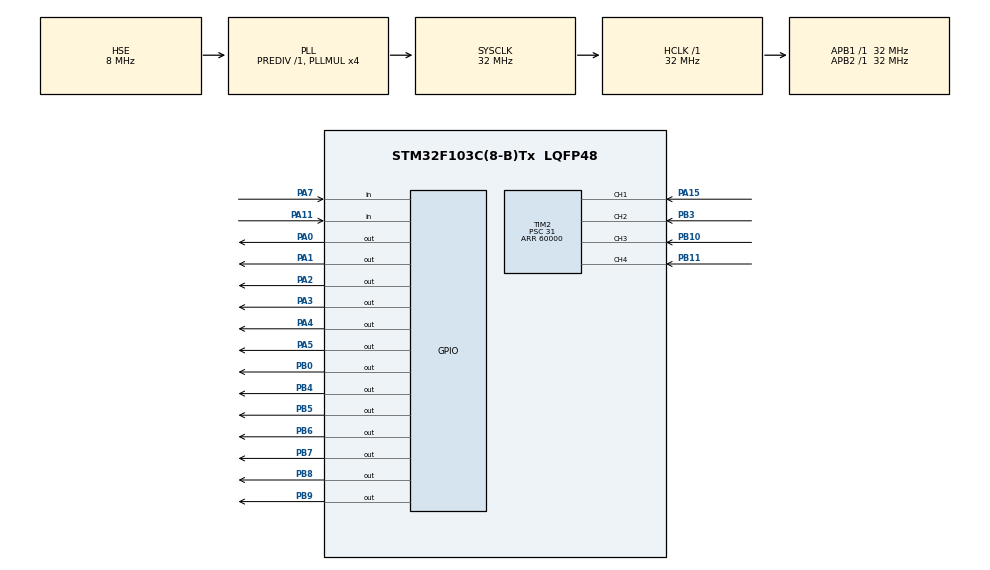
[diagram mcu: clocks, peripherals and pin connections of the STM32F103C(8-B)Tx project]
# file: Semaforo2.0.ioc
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Mcu.Family=STM32F1
Mcu.Name=STM32F103C(8-B)Tx
Mcu.Package=LQFP48
NVIC.PriorityGroup=NVIC_PRIORITYGROUP_4
NVIC.TIM2_IRQn=true\:0\:0\:false\:false\:true
NVIC.TIM3_IRQn=true\:0\:0\:false\:false\:true
PA0-WKUP.Signal=GPIO_Output
PA1.GPIO_Speed=GPIO_SPEED_FREQ_LOW
PA1.PinState=GPIO_PIN_RESET
PA1.Signal=GPIO_Output
PA11.GPIO_PuPd=GPIO_PULLDOWN
PA11.Signal=GPIO_Input
PA13.Mode=Serial_Wire
PA13.Signal=SYS_JTMS-SWDIO
PA14.Mode=Serial_Wire
PA14.Signal=SYS_JTCK-SWCLK
PA15.GPIO_PuPd=GPIO_PULLDOWN
PA15.Signal=S_TIM2_CH1_ETR
PA2.Signal=GPIO_Output
PA3.Signal=GPIO_Output
PA4.Signal=GPIO_Output
PA5.Signal=GPIO_Output
PA7.GPIO_PuPd=GPIO_PULLDOWN
PA7.Signal=GPIO_Input
PB0.Signal=GPIO_Output
PB10.GPIO_PuPd=GPIO_PULLUP
PB10.Signal=S_TIM2_CH3
PB11.GPIO_PuPd=GPIO_PULLDOWN
PB11.Signal=S_TIM2_CH4
PB3.GPIO_PuPd=GPIO_PULLUP
PB3.Signal=S_TIM2_CH2
PB4.Signal=GPIO_Output
PB5.Signal=GPIO_Output
PB6.Signal=GPIO_Output
PB7.Signal=GPIO_Output
PB8.Signal=GPIO_Output
PB9.Signal=GPIO_Output
PD0-OSC_IN.Mode=HSE-External-Oscillator
PD0-OSC_IN.Signal=RCC_OSC_IN
PD1-OSC_OUT.Mode=HSE-External-Oscillator
PD1-OSC_OUT.Signal=RCC_OSC_OUT
ProjectManager.HeapSize=0x200
ProjectManager.StackSize=0x400
ProjectManager.TargetToolchain=TrueSTUDIO
RCC.AHBFreq_Value=32000000
RCC.APB1Freq_Value=32000000
RCC.APB1TimFreq_Value=32000000
RCC.APB2Freq_Value=32000000
RCC.APB2TimFreq_Value=32000000
RCC.HCLKFreq_Value=32000000
RCC.PLLMUL=RCC_PLL_MUL4
RCC.PLLSourceVirtual=RCC_PLLSOURCE_HSE
RCC.SYSCLKFreq_VALUE=32000000
RCC.SYSCLKSource=RCC_SYSCLKSOURCE_PLLCLK
RCC.USBFreq_Value=32000000
SH.S_TIM2_CH1_ETR.0=TIM2_CH1,Input_Capture1_from_TI1
SH.S_TIM2_CH2.0=TIM2_CH2,Input_Capture2_from_TI2
SH.S_TIM2_CH3.0=TIM2_CH3,Input_Capture3_from_TI3
SH.S_TIM2_CH4.0=TIM2_CH4,Input_Capture4_from_TI4
TIM2.Channel-Input_Capture1_from_TI1=TIM_CHANNEL_1
TIM2.Channel-Input_Capture2_from_TI2=TIM_CHANNEL_2
TIM2.Channel-Input_Capture3_from_TI3=TIM_CHANNEL_3
TIM2.Channel-Input_Capture4_from_TI4=TIM_CHANNEL_4
TIM2.ICFilter_CH1=15
TIM2.ICFilter_CH2=15
TIM2.ICFilter_CH3=15
TIM2.ICFilter_CH4=15
TIM2.ICPolarity_CH1=TIM_INPUTCHANNELPOLARITY_FALLING
TIM2.ICPolarity_CH4=TIM_INPUTCHANNELPOLARITY_FALLING
TIM2.Period=60000
TIM2.Prescaler=31
TIM3.Period=99
TIM3.Prescaler=31999
VP_TIM2_VS_ClockSourceINT.Mode=Internal
VP_TIM3_VS_ClockSourceINT.Mode=Internal
board=Semaforo2.0

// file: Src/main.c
/**
  ******************************************************************************
  * File Name          : main.c
  * Description        : Main program body
  ******************************************************************************
  ** This notice applies to any and all portions of this file
  * that are not between comment pairs USER CODE BEGIN and
  * USER CODE END. Other portions of this file, whether
  * inserted by the user or by software development tools
  * are owned by their respective copyright owners.
  *
  * COPYRIGHT(c) 2017 STMicroelectronics
  *
  * Redistribution and use in source and binary forms, with or without modification,
  * are permitted provided that the following conditions are met:
  *   1. Redistributions of source code must retain the above copyright notice,
  *      this list of conditions and the following disclaimer.
  *   2. Redistributions in binary form must reproduce the above copyright notice,
  *      this list of conditions and the following disclaimer in the documentation
  *      and/or other materials provided with the distribution.
  *   3. Neither the name of STMicroelectronics nor the names of its contributors
  *      may be used to endorse or promote products derived from this software
  *      without specific prior written permission.
  *
  * THIS SOFTWARE IS PROVIDED BY THE COPYRIGHT HOLDERS AND CONTRIBUTORS "AS IS"
  * AND ANY EXPRESS OR IMPLIED WARRANTIES, INCLUDING, BUT NOT LIMITED TO, THE
  * IMPLIED WARRANTIES OF MERCHANTABILITY AND FITNESS FOR A PARTICULAR PURPOSE ARE
  * DISCLAIMED. IN NO EVENT SHALL THE COPYRIGHT HOLDER OR CONTRIBUTORS BE LIABLE
  * FOR ANY DIRECT, INDIRECT, INCIDENTAL, SPECIAL, EXEMPLARY, OR CONSEQUENTIAL
  * DAMAGES (INCLUDING, BUT NOT LIMITED TO, PROCUREMENT OF SUBSTITUTE GOODS OR
  * SERVICES; LOSS OF USE, DATA, OR PROFITS; OR BUSINESS INTERRUPTION) HOWEVER
  * CAUSED AND ON ANY THEORY OF LIABILITY, WHETHER IN CONTRACT, STRICT LIABILITY,
  * OR TORT (INCLUDING NEGLIGENCE OR OTHERWISE) ARISING IN ANY WAY OUT OF THE USE
  * OF THIS SOFTWARE, EVEN IF ADVISED OF THE POSSIBILITY OF SUCH DAMAGE.
  *
  ******************************************************************************
  */
#include "main.h"
#include "stm32f1xx_hal.h"
#include "tim.h"
#include "gpio.h"

/* USER CODE BEGIN PV */
/* Private variables ---------------------------------------------------------*/
long uss1_delay = 0;
long uss2_delay = 0;
//Fluxo nas vias
long uss1_fluxo = 0; //semaforo 1
long uss2_fluxo = 0; // semafor 2
//distancia padrao sem carro
int uss1_calibragem = 1000;
int uss2_calibragem = 700;
//informa se carro ja passou pelo sensor
int uss1_resetado = 1;
int uss2_resetado = 1;
//contador do botao de pedestre
int btn_s1 = 0;
int btn_s2 = 0;
//contador de ciclos inativo
long uss1_ciclos_inativo = 0;
long uss2_ciclos_inativo = 0;
int uss1_seg_inativo = 0;
int uss2_seg_inativo = 0;
//amostragem por segundo
int tm_frequencia = 10;
//contagem de tempo
int count_time = 0;
int count_time_seg = 0;
//semaforo fechado 1 = s1 e 2 = s2
int sem_fechado = 1;
/* USER CODE END PV */
//semaforo que deve ser fechado
int fecha_sem = 1;

void SystemClock_Config(void);

/* USER CODE BEGIN PFP */
/* Private function prototypes -----------------------------------------------*/

/* USER CODE END PFP */

int main(void)
{

  /* MCU Configuration----------------------------------------------------------*/

  /* Reset of all peripherals, Initializes the Flash interface and the Systick. */
  HAL_Init();

  /* Configure the system clock */
  SystemClock_Config();

  /* Initialize all configured peripherals */
  MX_GPIO_Init();
  MX_TIM3_Init();
  MX_TIM2_Init();

  /* USER CODE BEGIN 2 */
  //timer com interrupção externa para medir largura do echo dos sensores com resolução de 1us
  HAL_TIM_IC_Start_IT(&htim2, TIM_CHANNEL_1); //uss2 descida do sinal de echo
  HAL_TIM_IC_Start_IT(&htim2, TIM_CHANNEL_2); //uss2 subida do sinal de echo
  HAL_TIM_IC_Start_IT(&htim2, TIM_CHANNEL_3); //uss1 subida do sinal de echo
  HAL_TIM_IC_Start_IT(&htim2, TIM_CHANNEL_4); //uss1 descida do sinal de echo
  //timer com interrupação por tempo de ativação dos sensores (trigger). Resolução 100ms
  HAL_TIM_Base_Start_IT(&htim3);
  /* USER CODE END 2 */

  /* Infinite loop */
  /* USER CODE BEGIN WHILE */
  	//semaforo 1 fechado
	HAL_GPIO_WritePin(GPIOA,GPIO_PIN_0,GPIO_PIN_SET); //S1R
	HAL_GPIO_WritePin(GPIOA,GPIO_PIN_1,GPIO_PIN_RESET); //S1Y
	HAL_GPIO_WritePin(GPIOA,GPIO_PIN_2,GPIO_PIN_RESET); //S1G
	HAL_GPIO_WritePin(GPIOA,GPIO_PIN_3,GPIO_PIN_RESET); //P1R
	HAL_GPIO_WritePin(GPIOA,GPIO_PIN_4,GPIO_PIN_SET); //P1G
	//semaforo 1 fechado
	HAL_GPIO_WritePin(GPIOB,GPIO_PIN_9,GPIO_PIN_RESET); //S2R
	HAL_GPIO_WritePin(GPIOB,GPIO_PIN_8,GPIO_PIN_RESET); //S2Y
	HAL_GPIO_WritePin(GPIOB,GPIO_PIN_7,GPIO_PIN_SET); //S2G
	HAL_GPIO_WritePin(GPIOB,GPIO_PIN_6,GPIO_PIN_SET); //P2R
	HAL_GPIO_WritePin(GPIOB,GPIO_PIN_5,GPIO_PIN_RESET); //P2G
  while (1)
  {
	  //faz a troca dos semaforos
	  if(sem_fechado != fecha_sem){
		  fecha_semaforo(fecha_sem);
		  count_time = 0;
	  }
	  //Breakpoint "%d - USS1 d-%d f-%d b-%d - USS2 d-%d f-%d b-%d \n",count_time,uss1_delay,uss1_fluxo,btn_s1,uss2_delay,uss2_fluxo,btn_s2
	  //"%d USS1 I-%d b-%d USS2 I-%d b-%d - fechado %d - deve_fechar %d \n",count_time,uss1_ciclos_inativo,btn_s1,uss2_ciclos_inativo,btn_s2,sem_fechado,fecha_sem
	  HAL_Delay(500);
  /* USER CODE END WHILE */

  }

}

/** System Clock Configuration
*/
void SystemClock_Config(void)
{

  RCC_OscInitTypeDef RCC_OscInitStruct;
  RCC_ClkInitTypeDef RCC_ClkInitStruct;

    /**Initializes the CPU, AHB and APB busses clocks
    */
  RCC_OscInitStruct.OscillatorType = RCC_OSCILLATORTYPE_HSE;
  RCC_OscInitStruct.HSEState = RCC_HSE_ON;
  RCC_OscInitStruct.HSEPredivValue = RCC_HSE_PREDIV_DIV1;
  RCC_OscInitStruct.HSIState = RCC_HSI_ON;
  RCC_OscInitStruct.PLL.PLLState = RCC_PLL_ON;
  RCC_OscInitStruct.PLL.PLLSource = RCC_PLLSOURCE_HSE;
  RCC_OscInitStruct.PLL.PLLMUL = RCC_PLL_MUL4;
  if (HAL_RCC_OscConfig(&RCC_OscInitStruct) != HAL_OK)
  {
    _Error_Handler(__FILE__, __LINE__);
  }

    /**Initializes the CPU, AHB and APB busses clocks
    */
  RCC_ClkInitStruct.ClockType = RCC_CLOCKTYPE_HCLK|RCC_CLOCKTYPE_SYSCLK
                              |RCC_CLOCKTYPE_PCLK1|RCC_CLOCKTYPE_PCLK2;
  RCC_ClkInitStruct.SYSCLKSource = RCC_SYSCLKSOURCE_PLLCLK;
  RCC_ClkInitStruct.AHBCLKDivider = RCC_SYSCLK_DIV1;
  RCC_ClkInitStruct.APB1CLKDivider = RCC_HCLK_DIV1;
  RCC_ClkInitStruct.APB2CLKDivider = RCC_HCLK_DIV1;

  if (HAL_RCC_ClockConfig(&RCC_ClkInitStruct, FLASH_LATENCY_1) != HAL_OK)
  {
    _Error_Handler(__FILE__, __LINE__);
  }

    /**Configure the Systick interrupt time
    */
  HAL_SYSTICK_Config(HAL_RCC_GetHCLKFreq()/1000);

    /**Configure the Systick
    */
  HAL_SYSTICK_CLKSourceConfig(SYSTICK_CLKSOURCE_HCLK);

  /* SysTick_IRQn interrupt configuration */
  HAL_NVIC_SetPriority(SysTick_IRQn, 0, 0);
}

/* USER CODE BEGIN 4 */
void HAL_TIM_IC_CaptureCallback(TIM_HandleTypeDef *htim)
{
	if (htim->Instance==TIM2){
		//subida echo uss1
		if(htim->Channel==TIM_CHANNEL_3){

		}
		//descida echo uss1
		if(htim->Channel==TIM_CHANNEL_4){

		}
		//subida echo uss2
		if(htim->Channel==TIM_CHANNEL_2){

		}
		//descida echo uss2
		if(htim->Channel==TIM_CHANNEL_1){

		}
	}
}
void HAL_TIM_PeriodElapsedCallback(TIM_HandleTypeDef *htim)
{
    if (htim->Instance==TIM3) //Interrupção por tempo, 100ms
    {
    	count_time_seg = count_time/tm_frequencia;
    	//Calcula a largura do pulso de echo do sensor 1
    	uss1_delay=HAL_TIM_ReadCapturedValue(&htim2, TIM_CHANNEL_4) - HAL_TIM_ReadCapturedValue(&htim2, TIM_CHANNEL_3);
    	//regulagem contra ruido
    	if(uss1_delay > 0 && uss1_delay < 1400){
    		//verifica se tem carro atravez da calibragem(delay normal sem carro)
			if(uss1_delay < uss1_calibragem){
				if(uss1_resetado == 1){
					uss1_fluxo++;
				}
				//informa que o sensor ainda nao voltou para distancia padrão
				uss1_resetado = 0;
				uss1_ciclos_inativo = 0;
			}
			else{
				//informa que o sensor voltou para distancia padrão
				uss1_resetado = 1;
				//contador de ciclos inativos incrementado
				uss1_ciclos_inativo++;
			}
    	}
    	//Calcula a largura do pulso de echo do sensor 2
    	uss2_delay=HAL_TIM_ReadCapturedValue(&htim2, TIM_CHANNEL_1) - HAL_TIM_ReadCapturedValue(&htim2, TIM_CHANNEL_2);
    	//regulagem contra ruido
    	if(uss2_delay > 0 && uss2_delay < 900){
    		//verifica se tem carro atravez da calibragem(delay normal sem carro)
			if(uss2_delay < uss2_calibragem){
				if(uss2_resetado == 1){
					uss2_fluxo++;
				}
				//informa que o sensor ainda nao voltou para distancia padrão
				uss2_resetado = 0;
				uss2_ciclos_inativo = 0;
			}
			else{
				//informa que o sensor voltou para distancia padrão
				uss2_resetado = 1;
				//contador de ciclos inativos incrementado
				uss2_ciclos_inativo++;
			}
    	}
    	//Tempo de inatividade do sensor 1 em segundos
    	uss1_seg_inativo = uss1_ciclos_inativo/tm_frequencia;
    	//Tempo de inatividade do sensor 1 em segundos
    	uss2_seg_inativo = uss2_ciclos_inativo/tm_frequencia;

    	//Botao de pedestre do semaforo 1 foi pressionado
		if(btn_s1 > 0){
			//semaforo 1 esta fechado, ou seja, sinal de pedestre do semaforo 2
			//esta fechado.
			if(sem_fechado == 2){
				//Sensor do semaforo 1 nao detecta carro a mais de 5 segundos
				//entao fecha o semaforo 2 para travessia de pedestre.
				if(uss1_seg_inativo >= 5){
					//A condição btn_s2 == 0 faz com que haja tempo minimo para travessia
					//dos pedestres do semaforo 2.
					if(btn_s2 == 0){
						fecha_sem = 1;
					}
					//Tempo maximo de espera 15 segundos
					else if(count_time_seg >= 15){
						fecha_sem = 1;
					}
				}
			}
		}
		//Se botão de pedestre nao tiver sido pressionado, entao ler a entrada.
		else if(HAL_GPIO_ReadPin(GPIOA,GPIO_PIN_7)){
			btn_s1++;
		}

    	//Botao de pedestre do semaforo 2 foi pressionado
    	if(btn_s2 > 0){
    		//semaforo 1 esta fechado, ou seja, sinal de pedestre do semaforo 2
    		//esta fechado.
    		if(sem_fechado == 1){
    			//Sensor do semaforo 2 nao detecta carro a mais de 5 segundos
    			//entao fecha o semaforo 2 para travessia de pedestre.
				if(uss2_seg_inativo >= 5){
					//A condição btn_s1 == 0 faz com que haja tempo minimo para travessia
					//dos pedestres do semaforo 1.
					if(btn_s1 == 0){
						fecha_sem = 2;
					}
					//Tempo maximo de espera 15 segundos
					else if(count_time_seg >= 15){
						fecha_sem = 2;
					}
				}
			}
		}
    	//Se botão de pedestre nao tiver sido pressionado, entao ler a entrada.
    	else if(HAL_GPIO_ReadPin(GPIOA,GPIO_PIN_11)){
			btn_s2++;
		}
    	//Tempo máximo de um semaforo aberto 75seg(3 cliclos comuns de 25seg)
		if(count_time_seg >= 75){
			//Semaforo 1 fechado então fecha semaforo 2
			if(sem_fechado == 1){
				fecha_sem = 2;
			}
			//Semaforo 2 fechado então fecha semaforo 1
			else{
				fecha_sem = 1;
			}
		}
    	//tempo normal de semaforo atingido 25seg
		else if(count_time_seg >= 25){
    		//Semaforo 1 fechado e seu senssor detectou carros menos de 5 seg
    		//Ou botão do semaforo 2 foi pressionado.
    		if((sem_fechado == 1 && uss1_seg_inativo <= 5) || btn_s2 > 0){
				fecha_sem = 2;
			}
    		//Semaforo 2 fechado e seu senssor detectou carros menos de 5 seg
			//Ou botão do semaforo 1 foi pressionado.
    		else if((sem_fechado == 2 && uss2_seg_inativo <= 5) || btn_s1 > 0){
				fecha_sem = 1;
			}
    	}

    	//verifica inatividade no semaforo aberto
    	if(sem_fechado == 1 && uss1_seg_inativo <= 5 && uss2_seg_inativo > 5 && count_time_seg >5 && (btn_s1 == 0 || count_time_seg > 150)){
    		fecha_sem = 2;
    	}
    	else if(sem_fechado == 2 && uss2_seg_inativo <= 5 && uss1_seg_inativo > 5 && count_time_seg >5 && (btn_s2 == 0 || count_time_seg > 150)){
    		fecha_sem = 1;
    	}
    	//contador de ciclos
    	count_time++;

    	//Envia pulso de trigger para os sensores
    	HAL_GPIO_WritePin(GPIOA,GPIO_PIN_5,GPIO_PIN_SET); //USS1 trigger
		HAL_GPIO_WritePin(GPIOB,GPIO_PIN_4,GPIO_PIN_SET); //USS2 trigger
		//delay de ativação
		Delay_Us(10);
		//Interrompe o pulso de trigger para os sensores
		HAL_GPIO_WritePin(GPIOA,GPIO_PIN_5,GPIO_PIN_RESET);//USS1 trigger
		HAL_GPIO_WritePin(GPIOB,GPIO_PIN_4,GPIO_PIN_RESET);//USS2 trigger*/
		//Reinicia o contador interno do timer 2
		__HAL_TIM_SET_COUNTER(&htim2,0);
    }
}
uint32_t getUs(void) {
	uint32_t usTicks = HAL_RCC_GetSysClockFreq() / 1000000;
	register uint32_t ms, cycle_cnt;
	do {
		ms = HAL_GetTick();
		cycle_cnt = SysTick->VAL;
	} while (ms != HAL_GetTick());

	return (ms * 1000) + (usTicks * 1000 - cycle_cnt) / usTicks;
}

void Delay_Us(uint32_t micros) {
	uint32_t start = getUs();
	while (getUs()-start < (uint32_t) micros);
}
void fecha_semaforo(int semaforo){
	if(semaforo == 1){
		//5 segundos de transição do verde para vermelho
		HAL_GPIO_WritePin(GPIOA,GPIO_PIN_1,GPIO_PIN_SET); //S1Y
		HAL_GPIO_WritePin(GPIOA,GPIO_PIN_2,GPIO_PIN_RESET); //S1G
		//Sinal de aviso(visual e sonoro) para pedestres
		for(int i = 0; i < 5; i++){
			HAL_GPIO_WritePin(GPIOB,GPIO_PIN_6,GPIO_PIN_SET); //P2R
			HAL_GPIO_WritePin(GPIOB,GPIO_PIN_0,GPIO_PIN_SET); //BUZ
			HAL_Delay(500);
			HAL_GPIO_WritePin(GPIOB,GPIO_PIN_6,GPIO_PIN_RESET); //P2R
			HAL_GPIO_WritePin(GPIOB,GPIO_PIN_0,GPIO_PIN_RESET); //BUZ
			HAL_Delay(500);
		}
		HAL_GPIO_WritePin(GPIOB,GPIO_PIN_7,GPIO_PIN_RESET); //S2G
		HAL_GPIO_WritePin(GPIOB,GPIO_PIN_6,GPIO_PIN_SET); //P2R
		HAL_GPIO_WritePin(GPIOB,GPIO_PIN_5,GPIO_PIN_RESET); //P2G
		//reseta contador de pedestre do semaforo que vai abrir(semaforo 2)
		btn_s2 = 0;

		//Fecha semaforo 1
		HAL_GPIO_WritePin(GPIOA,GPIO_PIN_0,GPIO_PIN_SET); //S1R
		HAL_GPIO_WritePin(GPIOA,GPIO_PIN_1,GPIO_PIN_RESET); //S1Y

		//delay com ambos os semaforos em vermelho
		HAL_Delay(1500);

		//Abre o semaforo 2
		HAL_GPIO_WritePin(GPIOB,GPIO_PIN_9,GPIO_PIN_RESET); //S2R
		HAL_GPIO_WritePin(GPIOB,GPIO_PIN_7,GPIO_PIN_SET); //S2G

		HAL_GPIO_WritePin(GPIOA,GPIO_PIN_3,GPIO_PIN_RESET); //P1R
		HAL_GPIO_WritePin(GPIOA,GPIO_PIN_4,GPIO_PIN_SET); //P1G
		sem_fechado = 1;
	}
	else if(semaforo == 2){
		//5 segundos de transição do verde para vermelho
		HAL_GPIO_WritePin(GPIOB,GPIO_PIN_8,GPIO_PIN_SET); //S2Y
		HAL_GPIO_WritePin(GPIOB,GPIO_PIN_7,GPIO_PIN_RESET); //S2G
		//Sinal de aviso(visual e sonoro) para pedestres
		for(int i = 0; i < 5; i++){
			HAL_GPIO_WritePin(GPIOA,GPIO_PIN_3,GPIO_PIN_SET); //P1R
			HAL_GPIO_WritePin(GPIOB,GPIO_PIN_0,GPIO_PIN_SET); //BUZ
			HAL_Delay(500);
			HAL_GPIO_WritePin(GPIOA,GPIO_PIN_3,GPIO_PIN_RESET); //P1R
			HAL_GPIO_WritePin(GPIOB,GPIO_PIN_0,GPIO_PIN_RESET); //BUZ
			HAL_Delay(500);
		}
		HAL_GPIO_WritePin(GPIOA,GPIO_PIN_2,GPIO_PIN_RESET); //S1G
		HAL_GPIO_WritePin(GPIOA,GPIO_PIN_3,GPIO_PIN_SET); //P1R
		HAL_GPIO_WritePin(GPIOA,GPIO_PIN_4,GPIO_PIN_RESET); //P1G
		//reseta contador de pedestre do semaforo que vai abrir(semaforo 1)
		btn_s1 = 0;

		//Fecha semaforo 2
		HAL_GPIO_WritePin(GPIOB,GPIO_PIN_9,GPIO_PIN_SET); //S2R
		HAL_GPIO_WritePin(GPIOB,GPIO_PIN_8,GPIO_PIN_RESET); //S2Y

		//delay com ambos os semaforos em vermelho
		HAL_Delay(1500);

		//Abre semaforo 1
		HAL_GPIO_WritePin(GPIOA,GPIO_PIN_0,GPIO_PIN_RESET); //S1R
		HAL_GPIO_WritePin(GPIOA,GPIO_PIN_2,GPIO_PIN_SET); //S1G

		HAL_GPIO_WritePin(GPIOB,GPIO_PIN_6,GPIO_PIN_RESET); //P2R
		HAL_GPIO_WritePin(GPIOB,GPIO_PIN_5,GPIO_PIN_SET); //P2G
		sem_fechado = 2;
	}

}
/* USER CODE END 4 */

void _Error_Handler(char * file, int line)
{
  while(1)
  {
  }
}

/************************ (C) COPYRIGHT STMicroelectronics *****END OF FILE****/
